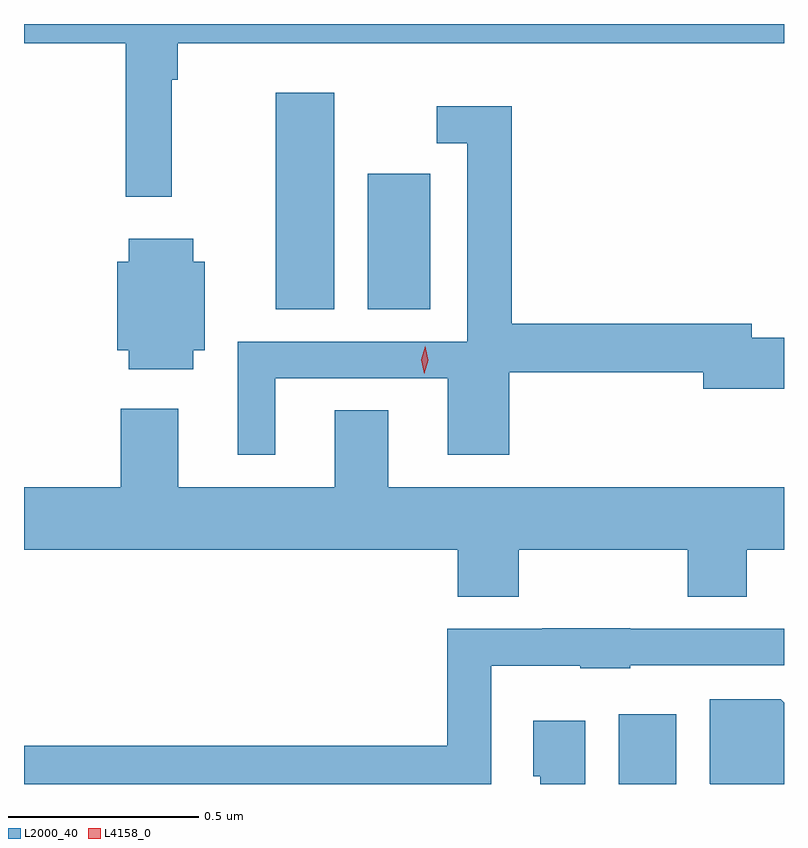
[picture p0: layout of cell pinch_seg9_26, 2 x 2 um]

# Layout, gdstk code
import gdstk
lib = gdstk.Library(unit=1e-6, precision=1e-09)
def R(c, l, rs):  # rectangles x0, y0, x1, y1
    for r in rs: c.add(gdstk.rectangle(r[:2], r[2:], *l))
def P(c, l, *ps):  # polygons
    for p in ps: c.add(gdstk.Polygon(p, *l))
L2000_40 = (2000, 40)
L4158_0 = (4158, 0)

pinch_seg9_26 = lib.new_cell('pinch_seg9_26')
R(pinch_seg9_26, L2000_40, [(940.124,1226.439,940.276,1226.623), (939.221,1227.688,939.376,1228.258), (939.464,1227.688,939.628,1228.045)])
P(pinch_seg9_26, L2000_40, [(938.948,1228.292),(938.963,1228.292),(938.963,1228.388),(940.559,1228.388),(940.559,1228.439),(938.559,1228.439),(938.559,1228.388),(938.827,1228.388),(938.827,1227.984),(938.948,1227.984)],
  [(939.22,1227.507),(939.674,1227.507),(939.674,1227.306),(939.836,1227.306),(939.836,1227.522),(940.346,1227.522),(940.346,1227.479),(940.559,1227.479),(940.559,1227.614),(940.474,1227.614),(940.474,1227.65),(939.842,1227.65),(939.842,1228.222),(939.645,1228.222),(939.645,1228.125),(939.726,1228.125),(939.726,1227.603),(939.122,1227.603),(939.122,1227.306),(939.22,1227.306)],
  [(939.004,1227.581),(939.034,1227.581),(939.034,1227.814),(939.004,1227.814),(939.004,1227.874),(938.834,1227.874),(938.834,1227.814),(938.804,1227.814),(938.804,1227.581),(938.834,1227.581),(938.834,1227.53),(939.004,1227.53)],
  [(939.861,1227.056),(940.306,1227.056),(940.306,1226.932),(940.461,1226.932),(940.461,1227.056),(940.559,1227.056),(940.559,1227.22),(939.517,1227.22),(939.517,1227.422),(939.377,1227.422),(939.377,1227.22),(938.965,1227.22),(938.965,1227.427),(938.813,1227.427),(938.813,1227.22),(938.559,1227.22),(938.559,1227.056),(939.701,1227.056),(939.701,1226.932),(939.861,1226.932)],
  [(939.789,1226.75),(940.023,1226.75),(940.023,1226.744),(940.155,1226.744),(940.155,1226.751),(940.559,1226.751),(940.559,1226.847),(940.155,1226.847),(940.155,1226.849),(939.923,1226.849),(939.923,1226.847),(939.673,1226.847),(939.673,1226.54),(938.559,1226.54),(938.559,1226.439),(939.789,1226.439)],
  [(940.559,1226.653),(940.55,1226.662),(940.364,1226.662),(940.364,1226.44),(940.365,1226.439),(940.559,1226.439)],
  [(940.036,1226.605),(939.899,1226.605),(939.899,1226.46),(939.917,1226.46),(939.917,1226.439),(940.036,1226.439)])
P(pinch_seg9_26, L4158_0, [(939.612,1227.518),(939.612,1227.519),(939.604,1227.555),(939.615,1227.591),(939.615,1227.591),(939.615,1227.591),(939.623,1227.554),(939.612,1227.519)])

lib.write_gds('pinch_seg9_26.gds')
